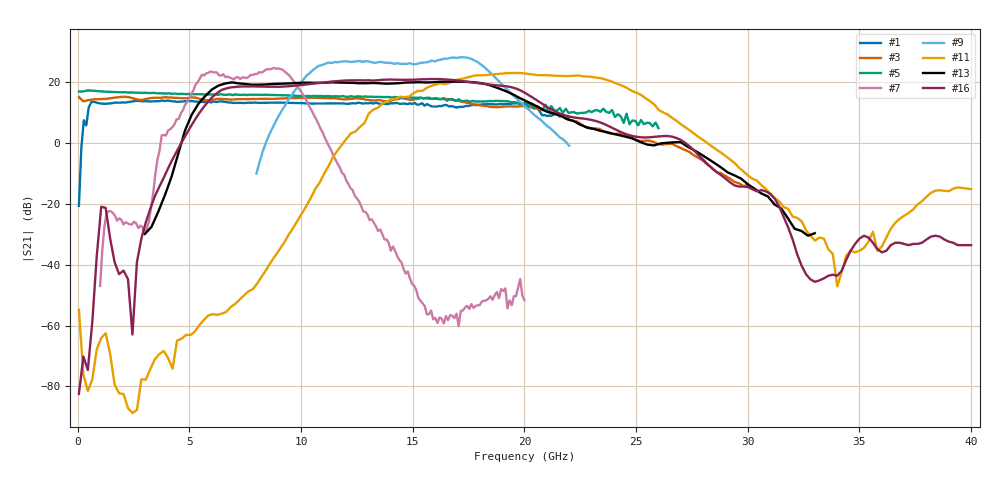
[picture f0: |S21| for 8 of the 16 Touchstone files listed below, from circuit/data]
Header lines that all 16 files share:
# MHZ S MA R 50
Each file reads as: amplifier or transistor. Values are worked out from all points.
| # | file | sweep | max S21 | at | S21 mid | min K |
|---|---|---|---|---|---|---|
| 1 | Hmc463lp5_deembedded.s2p | 50 MHz to 22 GHz | 14.0 dB | 3.781 GHz | 13.0 dB at 11.03 GHz | 1.60 |
| 2 | HMC464_deembedded.s2p | 50 MHz to 30.01 GHz | 16.4 dB | 4.844 GHz | 15.9 dB at 15.23 GHz | 0.09 |
| 3 | HMC464LP5_deembedded.s2p | 50 MHz to 30 GHz | 15.3 dB | 2.06 GHz | 14.4 dB at 15.13 GHz | 0.23 |
| 4 | HMC465_deembedded.s2p | 50 MHz to 30.01 GHz | 18.7 dB | 449.5 MHz | 16.7 dB at 15.23 GHz | 2.77 |
| 5 | HMC465LP5_deembedded.s2p | 50 MHz to 26 GHz | 17.3 dB | 439.2 MHz | 15.2 dB at 13.03 GHz | 2.67 |
| 6 | HMC486_deembedded.s2p | 1 GHz to 20 GHz | 27.5 dB | 9.17 GHz | 15.3 dB at 10.5 GHz | -46.67 |
| 7 | HMC486LP5_deembedded.s2p | 1 GHz to 20 GHz | 24.7 dB | 8.79 GHz | 10.3 dB at 10.5 GHz | -5454.17 |
| 8 | HMC489LP5_deembedded.s2p | 1 GHz to 20 GHz | 14.8 dB | 15.82 GHz | 9.5 dB at 10.5 GHz | -46.83 |
| 9 | HMC490_deembedded.s2p | 8 GHz to 22 GHz | 28.2 dB | 17.24 GHz | 26.0 dB at 15 GHz | 6.41 |
| 10 | HMC490LP5_deembedded.s2p | 8 GHz to 20 GHz | 25.5 dB | 15.87 GHz | 23.6 dB at 14.03 GHz | 5.68 |
| 11 | HMC498LC4_deembedded.s2p | 50 MHz to 40 GHz | 23.1 dB | 19.63 GHz | 22.9 dB at 20.02 GHz | -0.92 |
| 12 | HMC499LC4_deembedded.s2p | 50 MHz to 40 GHz | 17.9 dB | 20.62 GHz | 17.4 dB at 20.02 GHz | -0.96 |
| 13 | HMC516_2p5V_deembedded.s2p | 3 GHz to 33 GHz | 20.2 dB | 16.8 GHz | 19.8 dB at 18 GHz | 3.65 |
| 14 | HMC516_3p5V_deembedded.s2p | 3 GHz to 33 GHz | 21.5 dB | 12.3 GHz | 20.6 dB at 18 GHz | 4.16 |
| 15 | HMC516_3V_deembedded.s2p | 3 GHz to 33 GHz | 20.7 dB | 16.8 GHz | 20.2 dB at 18 GHz | 3.97 |
| 16 | Hmc516lc5_deembedded.s2p | 50 MHz to 40 GHz | 21.1 dB | 15.83 GHz | 16.5 dB at 20.02 GHz | -92.29 |
